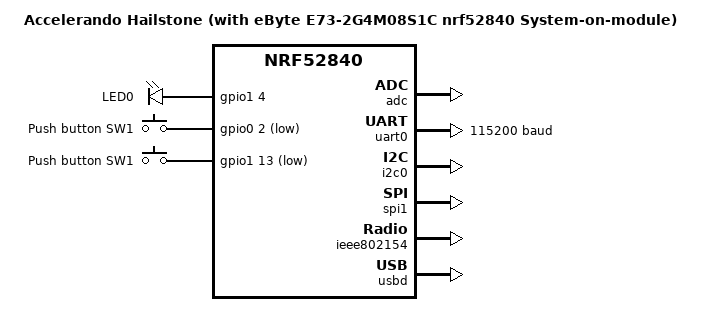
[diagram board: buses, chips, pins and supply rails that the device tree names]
/dts-v1/;
#include <nordic/nrf52840_qiaa.dtsi>
#include "accelerando_hailstone-pinctrl.dtsi"

/ {
	model = "Accelerando Hailstone (with eByte E73-2G4M08S1C nrf52840 System-on-module)";
	chosen {
		zephyr,console = &usb_cdc_acm_uart;
		zephyr,shell-uart = &usb_cdc_acm_uart;
		zephyr,uart-mcumgr = &usb_cdc_acm_uart;
		zephyr,bt-mon-uart = &usb_cdc_acm_uart;
		zephyr,bt-c2h-uart = &usb_cdc_acm_uart;
		zephyr,sram = &sram0;
		zephyr,flash = &flash0;
		zephyr,code-partition = &slot0_partition;
		zephyr,ieee802154 = &ieee802154;
	};

	/* These aliases are provided for compatibility with samples */
	aliases {
		led0 = &led0;
		bootloader-led0 = &led0;
		mcuboot-led0 = &led0;
		watchdog0 = &wdt0;
		mcuboot-button0 = &button0;
		sw0 = &button0;
		sw1 = &button1;
	};

	leds {
		compatible = "gpio-leds";
		led0: led_0 {
			gpios = <&gpio1 4 0>;
			label = "LED0";
		};
	};

	buttons {
		compatible = "gpio-keys";
		button0: button_0 {
			gpios = <&gpio0 2 (GPIO_PULL_UP | GPIO_ACTIVE_LOW)>;
			label = "Push button SW1";
			zephyr,code = <INPUT_KEY_0>;
		};
		button1: button_1 {
			gpios = <&gpio1 13 (GPIO_PULL_UP | GPIO_ACTIVE_LOW)>;
			label = "Push button SW1";
			zephyr,code = <INPUT_KEY_1>;
		};
	};

	vbatt {
		compatible = "voltage-divider";
		status = "disabled";
		io-channels = <&adc 5>;
		output-ohms = <1000000>;
		full-ohms = <(1000000 + 1000000)>;
	};
};

&adc {
	status = "okay";
};

&uicr {
	gpio-as-nreset;
};

&gpiote {
	status = "okay";
};

&gpio0 {
	status = "okay";
};

&gpio1 {
	status = "okay";
};

&uart0 {
       	compatible = "nordic,nrf-uarte";
	current-speed = <115200>;
	status = "okay";
	pinctrl-0 = <&uart0_default>;
	pinctrl-1 = <&uart0_sleep>;
	pinctrl-names = "default", "sleep";
};

&uart1 {
       	compatible = "nordic,nrf-uarte";
	current-speed = <9600>;
	status = "disabled";
	pinctrl-0 = <&uart0_default>;
	pinctrl-1 = <&uart0_sleep>;
	pinctrl-names = "default", "sleep";
};

&i2c0 {
        compatible = "nordic,nrf-twi";
	status = "okay";
	pinctrl-0 = <&i2c0_default>;
	pinctrl-1 = <&i2c0_sleep>;
	pinctrl-names = "default", "sleep";
};

&i2c1 {
        compatible = "nordic,nrf-twi";
	status = "disabled";
	pinctrl-0 = <&i2c1_default>;
	pinctrl-1 = <&i2c1_sleep>;
	pinctrl-names = "default", "sleep";
};

&spi1 {
	compatible = "nordic,nrf-spi";
	status = "okay";
	pinctrl-0 = <&spi1_default>;
	pinctrl-1 = <&spi1_sleep>;
	pinctrl-names = "default", "sleep";
};

&ieee802154 {
	status = "okay";
};

&flash0 {
	/*
	 * For more information, see:
	 * http://docs.zephyrproject.org/latest/guides/dts/index.html#flash-partitions
	 */
	partitions {
		compatible = "fixed-partitions";
		#address-cells = <1>;
		#size-cells = <1>;

		boot_partition: partition@0 {
			label = "mcuboot";
			reg = <0x000000000 0x0000C000>;
		};
		slot0_partition: partition@c000 {
			label = "image-0";
			reg = <0x0000C000 0x00067000>;
		};
		slot1_partition: partition@73000 {
			label = "image-1";
			reg = <0x00073000 0x00067000>;
		};
		scratch_partition: partition@da000 {
			label = "image-scratch";
			reg = <0x000da000 0x0001e000>;
		};

		/*
		 * The flash starting at 0x000f8000 and ending at
		 * 0x000fffff is reserved for use by the application.
		 */

		/* Storage partition will be used by FCB/NFFS/NVS if enabled. */
		storage_partition: partition@f8000 {
			label = "storage";
			reg = <0x000f8000 0x00008000>;
		};
	};
};

zephyr_udc0: &usbd {
	compatible = "nordic,nrf-usbd";
	status = "okay";

	usb_cdc_acm_uart: cdc-acm-uart {
		compatible = "zephyr,cdc-acm-uart";
	};
};
